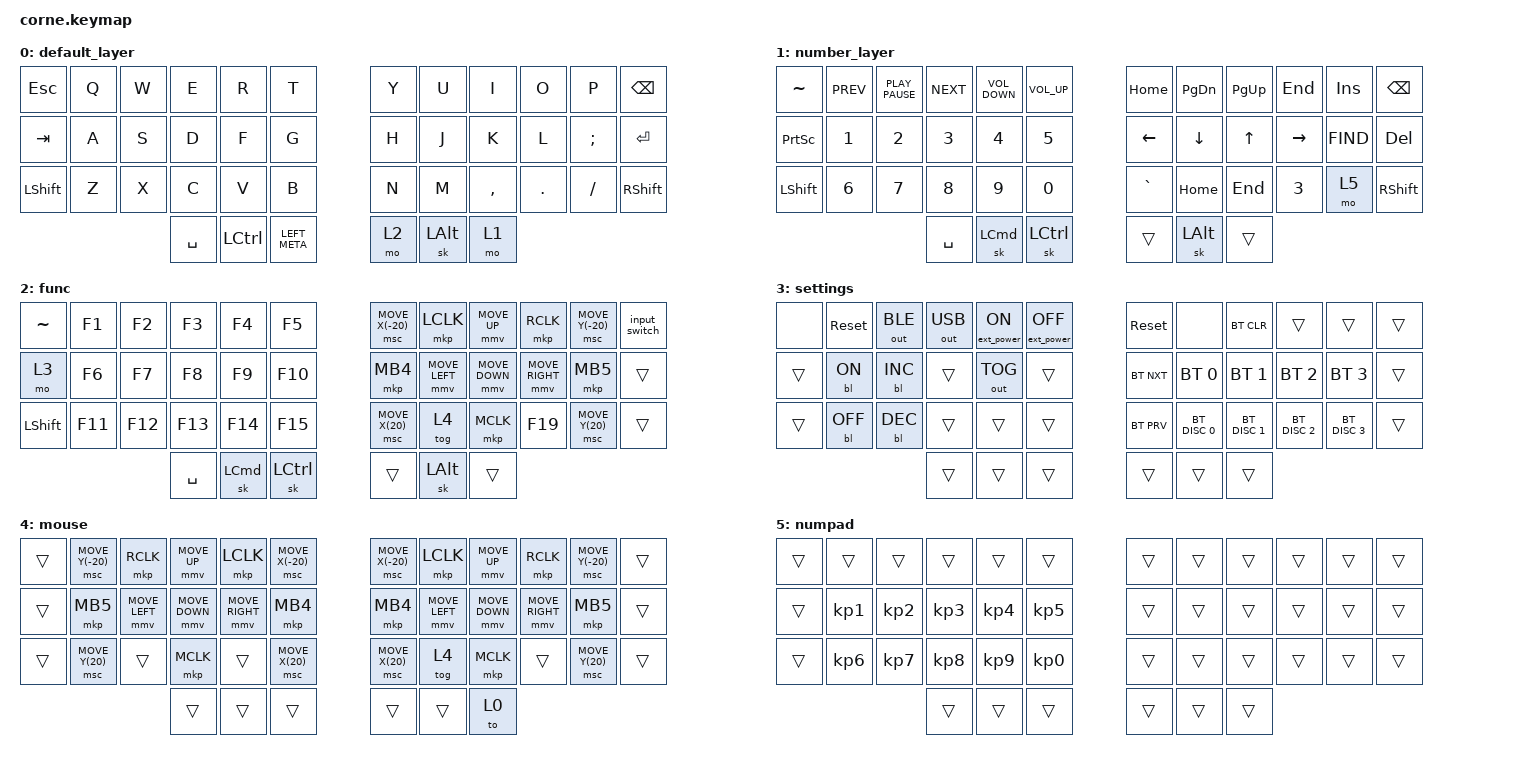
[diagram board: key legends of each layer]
#include <behaviors.dtsi>
#include <dt-bindings/zmk/backlight.h>
#include <dt-bindings/zmk/bt.h>
#include <dt-bindings/zmk/ext_power.h>
#include <dt-bindings/zmk/keys.h>
#include <dt-bindings/zmk/outputs.h>
#include <dt-bindings/zmk/pointing.h>

#define DEFAULT_L 0
#define NUMBERS_L 1
#define FUNC_L 2
#define SETTINGS_L 3

/ {
    behaviors {
        hm: homerow_mods {
            compatible = "zmk,behavior-hold-tap";
            label = "HOMEROW_MODS";
            #binding-cells = <2>;
            tapping-term-ms = <250>;
            quick-tap-ms = <150>;
            flavor = "balanced";
            bindings = <&kp>, <&kp>;

            require-prior-idle-ms = <200>;
        };
    };

    combos {
        compatible = "zmk,combos";

        caplocks {
            bindings = <&kp CAPS>;
            key-positions = <2 1>;
        };

        left_bracket_brace {
            bindings = <&kp LEFT_BRACKET>;
            key-positions = <18 30>;
        };

        right_bracket_brace {
            bindings = <&kp RIGHT_BRACKET>;
            key-positions = <30 31>;
        };

        left_parenthesis {
            bindings = <&kp LEFT_PARENTHESIS>;
            key-positions = <7 8>;
        };

        right_parenthesis {
            bindings = <&kp RIGHT_PARENTHESIS>;
            key-positions = <8 9>;
        };

        less_than {
            bindings = <&kp LESS_THAN>;
            key-positions = <6 18>;
        };

        greater_than {
            bindings = <&kp GREATER_THAN>;
            key-positions = <6 7>;
        };

        at {
            bindings = <&kp AT_SIGN>;
            key-positions = <5 17>;
        };

        grave {
            bindings = <&kp TILDE>;
            key-positions = <13 25>;
        };

        hash {
            bindings = <&kp HASH>;
            key-positions = <14 13>;
        };

        backslash {
            bindings = <&kp BACKSLASH>;
            key-positions = <14 26>;
        };

        dollar {
            bindings = <&kp DOLLAR>;
            key-positions = <13 1>;
        };

        equal {
            bindings = <&kp EQUAL>;
            key-positions = <4 16>;
        };

        plus {
            bindings = <&kp PLUS>;
            key-positions = <15 3>;
        };

        minus {
            bindings = <&kp MINUS>;
            key-positions = <15 27>;
        };

        underscore {
            bindings = <&kp UNDERSCORE>;
            key-positions = <16 28>;
        };

        asterisk {
            bindings = <&kp ASTERISK>;
            key-positions = <8 20>;
        };

        slash {
            bindings = <&kp SLASH>;
            key-positions = <20 32>;
        };

        ampersand {
            bindings = <&kp AMPERSAND>;
            key-positions = <9 21>;
        };

        pipe {
            bindings = <&kp PIPE>;
            key-positions = <21 33>;
        };

        single_quote {
            bindings = <&kp SINGLE_QUOTE>;
            key-positions = <10 22>;
        };

        double_quote {
            bindings = <&kp DOUBLE_QUOTES>;
            key-positions = <22 34>;
        };

        left_brace {
            bindings = <&kp LEFT_BRACE>;
            key-positions = <19 20>;
        };

        right_brace {
            bindings = <&kp RIGHT_BRACE>;
            key-positions = <20 21>;
        };

        exclamation {
            bindings = <&kp EXCLAMATION>;
            key-positions = <2 14>;
        };
    };

    macros {
        input_switch: input_switch {
            compatible = "zmk,behavior-macro";
            #binding-cells = <0>;
            bindings = <&kp LA(LC(LG(SPACE)))>;
            label = "INPUT_SWITCH";
        };
    };

    keymap {
        compatible = "zmk,keymap";

        default_layer {
            bindings = <
&kp ESC         &kp Q  &kp W  &kp E      &kp R             &kp T            &kp Y  &kp U         &kp I      &kp O    &kp P     &kp BSPC
&kp TAB         &kp A  &kp S  &kp D      &kp F             &kp G            &kp H  &kp J         &kp K      &kp L    &kp SEMI  &kp RET
&kp LEFT_SHIFT  &kp Z  &kp X  &kp C      &kp V             &kp B            &kp N  &kp M         &kp COMMA  &kp DOT  &kp FSLH  &kp RSHFT
                              &kp SPACE  &kp LEFT_CONTROL  &kp LEFT_META    &mo 2  &sk LEFT_ALT  &mo 1
            >;
        };

        number_layer {
            bindings = <
&kp TILDE        &kp K_PREV    &kp K_PLAY_PAUSE  &kp K_NEXT    &kp C_VOLUME_DOWN  &kp C_VOLUME_UP     &kp HOME   &kp PAGE_DOWN  &kp PAGE_UP  &kp END    &kp INSERT  &kp BACKSPACE
&kp PRINTSCREEN  &kp NUMBER_1  &kp NUMBER_2      &kp NUMBER_3  &kp NUMBER_4       &kp NUMBER_5        &kp LEFT   &kp DOWN       &kp UP       &kp RIGHT  &kp K_FIND  &kp DELETE
&kp LEFT_SHIFT   &kp NUMBER_6  &kp NUMBER_7      &kp NUMBER_8  &kp N9             &kp NUMBER_0        &kp GRAVE  &kp HOME       &kp END      &kp N3     &mo 5       &kp RIGHT_SHIFT
                                                 &kp SPACE     &sk LEFT_COMMAND   &sk LEFT_CONTROL    &trans     &sk LEFT_ALT   &trans
            >;
        };

        func {
            bindings = <
&kp TILDE       &kp F1   &kp F2   &kp F3     &kp F4            &kp F5              &msc MOVE_X(-20)  &mkp LCLK       &mmv MOVE_UP    &mkp RCLK        &msc MOVE_Y(-20)  &input_switch
&mo 3           &kp F6   &kp F7   &kp F8     &kp F9            &kp F10             &mkp MB4          &mmv MOVE_LEFT  &mmv MOVE_DOWN  &mmv MOVE_RIGHT  &mkp MB5          &trans
&kp LEFT_SHIFT  &kp F11  &kp F12  &kp F13    &kp F14           &kp F15             &msc MOVE_X(20)   &tog 4          &mkp MCLK       &kp F19          &msc MOVE_Y(20)   &trans
                                  &kp SPACE  &sk LEFT_COMMAND  &sk LEFT_CONTROL    &trans            &sk LEFT_ALT    &trans
            >;
        };

        settings {
            bindings = <
&none   &sys_reset  &out OUT_BLE  &out OUT_USB  &ext_power EP_ON  &ext_power EP_OFF    &sys_reset  &none          &bt BT_CLR     &trans         &trans         &trans
&trans  &bl BL_ON   &bl BL_INC    &trans        &out OUT_TOG      &trans               &bt BT_NXT  &bt BT_SEL 0   &bt BT_SEL 1   &bt BT_SEL 2   &bt BT_SEL 3   &trans
&trans  &bl BL_OFF  &bl BL_DEC    &trans        &trans            &trans               &bt BT_PRV  &bt BT_DISC 0  &bt BT_DISC 1  &bt BT_DISC 2  &bt BT_DISC 3  &trans
                                  &trans        &trans            &trans               &trans      &trans         &trans
            >;
        };

        mouse {
            bindings = <
&trans  &msc MOVE_Y(-20)  &mkp RCLK       &mmv MOVE_UP    &mkp LCLK        &msc MOVE_X(-20)    &msc MOVE_X(-20)  &mkp LCLK       &mmv MOVE_UP    &mkp RCLK        &msc MOVE_Y(-20)  &trans
&trans  &mkp MB5          &mmv MOVE_LEFT  &mmv MOVE_DOWN  &mmv MOVE_RIGHT  &mkp MB4            &mkp MB4          &mmv MOVE_LEFT  &mmv MOVE_DOWN  &mmv MOVE_RIGHT  &mkp MB5          &trans
&trans  &msc MOVE_Y(20)   &trans          &mkp MCLK       &trans           &msc MOVE_X(20)     &msc MOVE_X(20)   &tog 4          &mkp MCLK       &trans           &msc MOVE_Y(20)   &trans
                                          &trans          &trans           &trans              &trans            &trans          &to 0
            >;
        };

        numpad {
            bindings = <
&trans  &trans           &trans           &trans     &trans     &trans       &trans  &trans  &trans  &trans  &trans  &trans
&trans  &kp KP_NUMBER_1  &kp KP_NUMBER_2  &kp KP_N3  &kp KP_N4  &kp KP_N5    &trans  &trans  &trans  &trans  &trans  &trans
&trans  &kp KP_N6        &kp KP_N7        &kp KP_N8  &kp KP_N9  &kp KP_N0    &trans  &trans  &trans  &trans  &trans  &trans
                                          &trans     &trans     &trans       &trans  &trans  &trans
            >;
        };
    };
};
